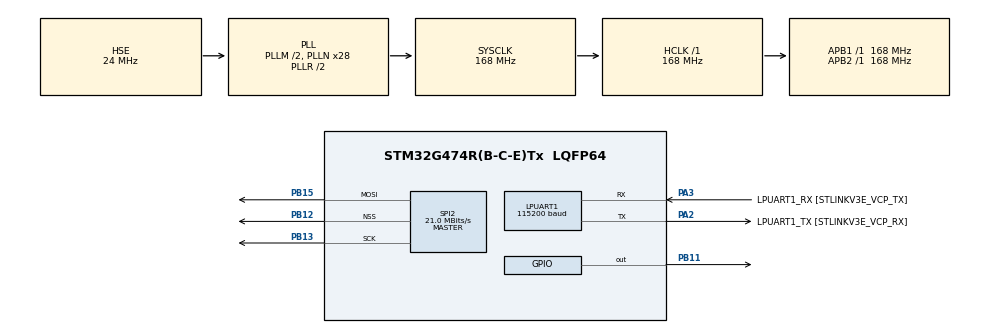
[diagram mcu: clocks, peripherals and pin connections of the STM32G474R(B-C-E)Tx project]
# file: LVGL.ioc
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LPUART1.BaudRate=115200
LPUART1.WordLength=UART_WORDLENGTH_8B
Mcu.Family=STM32G4
Mcu.Name=STM32G474R(B-C-E)Tx
Mcu.Package=LQFP64
NVIC.PriorityGroup=NVIC_PRIORITYGROUP_4
NVIC.TIM7_DAC_IRQn=true\:0\:0\:true\:false\:true\:true\:true\:true
PA13.GPIO_Label=T_SWDIO
PA13.Mode=Serial_Wire
PA13.Signal=SYS_JTMS-SWDIO
PA14.GPIO_Label=T_SWCLK
PA14.Mode=Serial_Wire
PA14.Signal=SYS_JTCK-SWCLK
PA2.GPIO_Label=LPUART1_TX [STLINKV3E_VCP_RX]
PA2.Mode=Asynchronous
PA2.Signal=LPUART1_TX
PA3.GPIO_Label=LPUART1_RX [STLINKV3E_VCP_TX]
PA3.Mode=Asynchronous
PA3.Signal=LPUART1_RX
PB11.Signal=GPIO_Output
PB12.Mode=NSS_Signal_Hard_Output
PB12.Signal=SPI2_NSS
PB13.Mode=TX_Only_Simplex_Unidirect_Master
PB13.Signal=SPI2_SCK
PB15.Mode=TX_Only_Simplex_Unidirect_Master
PB15.Signal=SPI2_MOSI
PC14-OSC32_IN.Mode=LSE-External-Oscillator
PC14-OSC32_IN.Signal=RCC_OSC32_IN
PC15-OSC32_OUT.Mode=LSE-External-Oscillator
PC15-OSC32_OUT.Signal=RCC_OSC32_OUT
PF0-OSC_IN.Mode=HSE-External-Oscillator
PF0-OSC_IN.Signal=RCC_OSC_IN
PF1-OSC_OUT.Mode=HSE-External-Oscillator
PF1-OSC_OUT.Signal=RCC_OSC_OUT
ProjectManager.HeapSize=0x200
ProjectManager.StackSize=0x400
ProjectManager.TargetToolchain=STM32CubeIDE
RCC.ADC12Freq_Value=168000000
RCC.ADC345Freq_Value=168000000
RCC.AHBFreq_Value=168000000
RCC.APB1Freq_Value=168000000
RCC.APB1TimFreq_Value=168000000
RCC.APB2Freq_Value=168000000
RCC.APB2TimFreq_Value=168000000
RCC.CortexFreq_Value=168000000
RCC.EXTERNAL_CLOCK_VALUE=12288000
RCC.HCLKFreq_Value=168000000
RCC.HSE_VALUE=24000000
RCC.HSI48_VALUE=48000000
RCC.HSI_VALUE=16000000
RCC.PLLM=RCC_PLLM_DIV2
RCC.PLLN=28
RCC.PLLSourceVirtual=RCC_PLLSOURCE_HSE
RCC.RTCClockSelection=RCC_RTCCLKSOURCE_LSE
RCC.SYSCLKFreq_VALUE=168000000
RCC.SYSCLKSource=RCC_SYSCLKSOURCE_PLLCLK
RCC.USBFreq_Value=168000000
RCC.VCOOutputFreq_Value=336000000
SPI2.BaudRatePrescaler=SPI_BAUDRATEPRESCALER_8
SPI2.CalculateBaudRate=21.0 MBits/s
SPI2.DataSize=SPI_DATASIZE_9BIT
SPI2.Direction=SPI_DIRECTION_2LINES
SPI2.Mode=SPI_MODE_MASTER
SPI2.TIMode=SPI_TIMODE_DISABLE
SPI2.VirtualNSS=VM_NSSHARD
SPI2.VirtualType=VM_MASTER
TIM7.PeriodNoDither=1000 - 1
TIM7.Prescaler=168 - 1
VP_SYS_VS_DBSignals.Mode=DisableDeadBatterySignals
VP_TIM7_VS_ClockSourceINT.Mode=Enable_Timer
board=NUCLEO-G474RE

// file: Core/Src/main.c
/* USER CODE BEGIN Header */
/**
 ******************************************************************************
 * @file           : main.c
 * @brief          : Main program body
 ******************************************************************************
 * @attention
 *
 * Copyright (c) 2024 STMicroelectronics.
 * All rights reserved.
 *
 * This software is licensed under terms that can be found in the LICENSE file
 * in the root directory of this software component.
 * If no LICENSE file comes with this software, it is provided AS-IS.
 *
 ******************************************************************************
 */
/* USER CODE END Header */
#include "main.h"

UART_HandleTypeDef hlpuart1;

SPI_HandleTypeDef hspi2;

TIM_HandleTypeDef htim7;

void SystemClock_Config(void);
static void MX_GPIO_Init(void);
static void MX_LPUART1_UART_Init(void);
static void MX_SPI2_Init(void);
static void MX_TIM7_Init(void);

/* USER CODE BEGIN 0 */

int __io_putchar(int ch)
{
  if (HAL_UART_Transmit(&hlpuart1, (uint8_t *)&ch, 1, 0xFFFF) != 0)
  {
    return -1;
  }
  return ch;
}

void HAL_TIM_PeriodElapsedCallback(TIM_HandleTypeDef *htim)
{
  if (htim->Instance == TIM7)
  {
    lv_tick_inc(1);
  }
}

#include "small.h"
#include "small_lvgl.h"
#include "lvgl/src/drivers/display/st7789/lv_st7789.h"
#include "lvgl/demos/lv_demos.h"

#define LCD_H_RES 240
#define LCD_V_RES 320
#define BUS_SPI1_POLL_TIMEOUT 0x1000U
#define SPI_MAX_BUF 4096

static uint16_t send_data[SPI_MAX_BUF];
static lv_display_t *lcd_disp;
static int32_t lcd_io_init(void)
{
  HAL_GPIO_WritePin(GPIOB, GPIO_PIN_11, GPIO_PIN_RESET);
  HAL_Delay(100);
  HAL_GPIO_WritePin(GPIOB, GPIO_PIN_11, GPIO_PIN_SET);
  HAL_Delay(100);

  HAL_GPIO_WritePin(GPIOB, GPIO_PIN_12, GPIO_PIN_SET);
  return HAL_OK;
}

static void lcd_send_cmd(lv_display_t *disp, const uint8_t *cmd, size_t cmd_size, const uint8_t *param, size_t param_size)
{
  uint16_t cmd_buf[cmd_size];

  HAL_GPIO_WritePin(GPIOB, GPIO_PIN_12, GPIO_PIN_RESET);
  for (int i = 0; i < cmd_size; i++) cmd_buf[i] = (0x00 << 8) | cmd[i];
  if (HAL_SPI_Transmit(&hspi2, (uint8_t *)cmd_buf, cmd_size, BUS_SPI1_POLL_TIMEOUT) == HAL_OK)
  {
    for (int i = 0; i < param_size; i++) send_data[i] = (0x01 << 8) | param[i];
    HAL_SPI_Transmit(&hspi2, (uint8_t *)send_data, param_size, BUS_SPI1_POLL_TIMEOUT);
  }
  HAL_GPIO_WritePin(GPIOB, GPIO_PIN_12, GPIO_PIN_SET);
}

static void lcd_send_color(lv_display_t *disp, const uint8_t *cmd, size_t cmd_size, uint8_t *param, size_t param_size)
{
  uint16_t cmd_buf[cmd_size];

  HAL_GPIO_WritePin(GPIOB, GPIO_PIN_12, GPIO_PIN_RESET);
  for (int i = 0; i < cmd_size; i++) cmd_buf[i] = (0x00 << 8) | cmd[i];
  if (HAL_SPI_Transmit(&hspi2, (uint8_t *)cmd_buf, cmd_size, BUS_SPI1_POLL_TIMEOUT) == HAL_OK)
  {
    while(param_size > 0) {
      uint16_t length = param_size > SPI_MAX_BUF ? SPI_MAX_BUF : param_size;

      lv_draw_sw_rgb565_swap(param, length/2);
      for (int i = 0 ; i < length ; i++) send_data[i] = (0x01 << 8) | param[i];
      HAL_SPI_Transmit(&hspi2, (uint8_t *)send_data, length, BUS_SPI1_POLL_TIMEOUT);
      param += length;
      param_size -= length;
    }
    lv_display_flush_ready(lcd_disp);
  }
  HAL_GPIO_WritePin(GPIOB, GPIO_PIN_12, GPIO_PIN_SET);
}

void rgb_color(void)
{
  lv_obj_t *scr = lv_screen_active();
  lv_obj_set_style_bg_color(scr, lv_color_white(), 0);
  lv_obj_set_style_bg_opa(scr, LV_OPA_100, 0);

  lv_obj_t* lbl_red = lv_label_create(scr);
  lv_obj_set_align(lbl_red, LV_ALIGN_TOP_MID);
  lv_obj_set_height(lbl_red, LV_SIZE_CONTENT);
  lv_obj_set_width(lbl_red, LV_SIZE_CONTENT);
  lv_obj_set_style_text_font(lbl_red, &lv_font_montserrat_24, 0);
  lv_obj_set_style_text_color(lbl_red, lv_color_make(0xff, 0, 0), 0);
  lv_label_set_text(lbl_red, "RED");

  lv_obj_t* lbl_green = lv_label_create(scr);
  lv_obj_set_align(lbl_green, LV_ALIGN_CENTER);
  lv_obj_set_height(lbl_green, LV_SIZE_CONTENT);
  lv_obj_set_width(lbl_green, LV_SIZE_CONTENT);
  lv_obj_set_style_text_font(lbl_green, &lv_font_montserrat_24, 0);
  lv_obj_set_style_text_color(lbl_green, lv_color_make(0, 0xff, 0), 0);
  lv_label_set_text(lbl_green, "GREEN");

  lv_obj_t* lbl_blue = lv_label_create(scr);
  lv_obj_set_align(lbl_blue, LV_ALIGN_BOTTOM_MID);
  lv_obj_set_height(lbl_blue, LV_SIZE_CONTENT);
  lv_obj_set_width(lbl_blue, LV_SIZE_CONTENT);
  lv_obj_set_style_text_font(lbl_blue, &lv_font_montserrat_24, 0);
  lv_obj_set_style_text_color(lbl_blue, lv_color_make(0, 0, 0xff), 0);
  lv_label_set_text(lbl_blue, "BLUE");
}

/* USER CODE END 0 */

int main(void)
{

  /* MCU Configuration--------------------------------------------------------*/

  /* Reset of all peripherals, Initializes the Flash interface and the Systick. */
  HAL_Init();

  /* Configure the system clock */
  SystemClock_Config();

  /* Initialize all configured peripherals */
  MX_GPIO_Init();
  MX_LPUART1_UART_Init();
  MX_SPI2_Init();
  MX_TIM7_Init();
  /* USER CODE BEGIN 2 */
  HAL_TIM_Base_Start_IT(&htim7);

  lv_init();
  lcd_io_init();
  lcd_disp = lv_st7789_create(LCD_H_RES, LCD_V_RES, LV_LCD_FLAG_NONE, lcd_send_cmd, lcd_send_color);
  lv_display_set_rotation(lcd_disp, LV_DISPLAY_ROTATION_270);
  lv_st7789_set_invert(lcd_disp, true);

  uint32_t buf_size = LCD_H_RES * LCD_V_RES / 10 * lv_color_format_get_size(lv_display_get_color_format(lcd_disp));
  lv_color_t *buf1 = lv_malloc(buf_size);
  lv_color_t *buf2 = lv_malloc(buf_size);

  if (buf1 == NULL || buf2 == NULL) {
    printf("display draw buffer malloc failed\r\n");
  }
  lv_display_set_buffers(lcd_disp, buf1, buf2, buf_size, LV_DISPLAY_RENDER_MODE_PARTIAL);
  // lv_demo_widgets();
  // rgb_color();
  lv_obj_t* img = lv_image_create(lv_screen_active());
  lv_image_set_src(img, &small_lvgl);
  lv_obj_align(img, LV_ALIGN_CENTER, 0, 0);
  /* USER CODE END 2 */

  /* Infinite loop */
  /* USER CODE BEGIN WHILE */
  uint32_t count = 0;
  while (1)
  {
    printf("count = %ld\r\n", count++);
    lv_timer_handler();
    HAL_Delay(10);
    /* USER CODE END WHILE */

  }
}

void SystemClock_Config(void)
{
  RCC_OscInitTypeDef RCC_OscInitStruct = {0};
  RCC_ClkInitTypeDef RCC_ClkInitStruct = {0};

  /** Configure the main internal regulator output voltage
   */
  HAL_PWREx_ControlVoltageScaling(PWR_REGULATOR_VOLTAGE_SCALE1_BOOST);

  /** Initializes the RCC Oscillators according to the specified parameters
   * in the RCC_OscInitTypeDef structure.
   */
  RCC_OscInitStruct.OscillatorType = RCC_OSCILLATORTYPE_HSE;
  RCC_OscInitStruct.HSEState = RCC_HSE_ON;
  RCC_OscInitStruct.PLL.PLLState = RCC_PLL_ON;
  RCC_OscInitStruct.PLL.PLLSource = RCC_PLLSOURCE_HSE;
  RCC_OscInitStruct.PLL.PLLM = RCC_PLLM_DIV2;
  RCC_OscInitStruct.PLL.PLLN = 28;
  RCC_OscInitStruct.PLL.PLLP = RCC_PLLP_DIV2;
  RCC_OscInitStruct.PLL.PLLQ = RCC_PLLQ_DIV2;
  RCC_OscInitStruct.PLL.PLLR = RCC_PLLR_DIV2;
  if (HAL_RCC_OscConfig(&RCC_OscInitStruct) != HAL_OK)
  {
    Error_Handler();
  }

  /** Initializes the CPU, AHB and APB buses clocks
   */
  RCC_ClkInitStruct.ClockType = RCC_CLOCKTYPE_HCLK | RCC_CLOCKTYPE_SYSCLK | RCC_CLOCKTYPE_PCLK1 | RCC_CLOCKTYPE_PCLK2;
  RCC_ClkInitStruct.SYSCLKSource = RCC_SYSCLKSOURCE_PLLCLK;
  RCC_ClkInitStruct.AHBCLKDivider = RCC_SYSCLK_DIV1;
  RCC_ClkInitStruct.APB1CLKDivider = RCC_HCLK_DIV1;
  RCC_ClkInitStruct.APB2CLKDivider = RCC_HCLK_DIV1;

  if (HAL_RCC_ClockConfig(&RCC_ClkInitStruct, FLASH_LATENCY_4) != HAL_OK)
  {
    Error_Handler();
  }
}

static void MX_LPUART1_UART_Init(void)
{

  hlpuart1.Instance = LPUART1;
  hlpuart1.Init.BaudRate = 115200;
  hlpuart1.Init.WordLength = UART_WORDLENGTH_8B;
  hlpuart1.Init.StopBits = UART_STOPBITS_1;
  hlpuart1.Init.Parity = UART_PARITY_NONE;
  hlpuart1.Init.Mode = UART_MODE_TX_RX;
  hlpuart1.Init.HwFlowCtl = UART_HWCONTROL_NONE;
  hlpuart1.Init.OneBitSampling = UART_ONE_BIT_SAMPLE_DISABLE;
  hlpuart1.Init.ClockPrescaler = UART_PRESCALER_DIV1;
  hlpuart1.AdvancedInit.AdvFeatureInit = UART_ADVFEATURE_NO_INIT;
  if (HAL_UART_Init(&hlpuart1) != HAL_OK)
  {
    Error_Handler();
  }
  if (HAL_UARTEx_SetTxFifoThreshold(&hlpuart1, UART_TXFIFO_THRESHOLD_1_8) != HAL_OK)
  {
    Error_Handler();
  }
  if (HAL_UARTEx_SetRxFifoThreshold(&hlpuart1, UART_RXFIFO_THRESHOLD_1_8) != HAL_OK)
  {
    Error_Handler();
  }
  if (HAL_UARTEx_DisableFifoMode(&hlpuart1) != HAL_OK)
  {
    Error_Handler();
  }
}

static void MX_SPI2_Init(void)
{

  /* SPI2 parameter configuration*/
  hspi2.Instance = SPI2;
  hspi2.Init.Mode = SPI_MODE_MASTER;
  hspi2.Init.Direction = SPI_DIRECTION_2LINES;
  hspi2.Init.DataSize = SPI_DATASIZE_9BIT;
  hspi2.Init.CLKPolarity = SPI_POLARITY_LOW;
  hspi2.Init.CLKPhase = SPI_PHASE_1EDGE;
  hspi2.Init.NSS = SPI_NSS_HARD_OUTPUT;
  hspi2.Init.BaudRatePrescaler = SPI_BAUDRATEPRESCALER_8;
  hspi2.Init.FirstBit = SPI_FIRSTBIT_MSB;
  hspi2.Init.TIMode = SPI_TIMODE_DISABLE;
  hspi2.Init.CRCCalculation = SPI_CRCCALCULATION_DISABLE;
  hspi2.Init.CRCPolynomial = 7;
  hspi2.Init.CRCLength = SPI_CRC_LENGTH_DATASIZE;
  hspi2.Init.NSSPMode = SPI_NSS_PULSE_ENABLE;
  if (HAL_SPI_Init(&hspi2) != HAL_OK)
  {
    Error_Handler();
  }
}

static void MX_TIM7_Init(void)
{

  TIM_MasterConfigTypeDef sMasterConfig = {0};

  htim7.Instance = TIM7;
  htim7.Init.Prescaler = 168 - 1;
  htim7.Init.CounterMode = TIM_COUNTERMODE_UP;
  htim7.Init.Period = 999;
  htim7.Init.AutoReloadPreload = TIM_AUTORELOAD_PRELOAD_DISABLE;
  if (HAL_TIM_Base_Init(&htim7) != HAL_OK)
  {
    Error_Handler();
  }
  sMasterConfig.MasterOutputTrigger = TIM_TRGO_RESET;
  sMasterConfig.MasterSlaveMode = TIM_MASTERSLAVEMODE_DISABLE;
  if (HAL_TIMEx_MasterConfigSynchronization(&htim7, &sMasterConfig) != HAL_OK)
  {
    Error_Handler();
  }
}

static void MX_GPIO_Init(void)
{
  GPIO_InitTypeDef GPIO_InitStruct = {0};

  /* GPIO Ports Clock Enable */
  __HAL_RCC_GPIOC_CLK_ENABLE();
  __HAL_RCC_GPIOF_CLK_ENABLE();
  __HAL_RCC_GPIOA_CLK_ENABLE();
  __HAL_RCC_GPIOB_CLK_ENABLE();

  /*Configure GPIO pin Output Level */
  HAL_GPIO_WritePin(GPIOB, GPIO_PIN_11, GPIO_PIN_RESET);

  /*Configure GPIO pin : PB11 */
  GPIO_InitStruct.Pin = GPIO_PIN_11;
  GPIO_InitStruct.Mode = GPIO_MODE_OUTPUT_PP;
  GPIO_InitStruct.Pull = GPIO_NOPULL;
  GPIO_InitStruct.Speed = GPIO_SPEED_FREQ_LOW;
  HAL_GPIO_Init(GPIOB, &GPIO_InitStruct);

}

void Error_Handler(void)
{
  __disable_irq();
  while (1)
  {
  }
}
